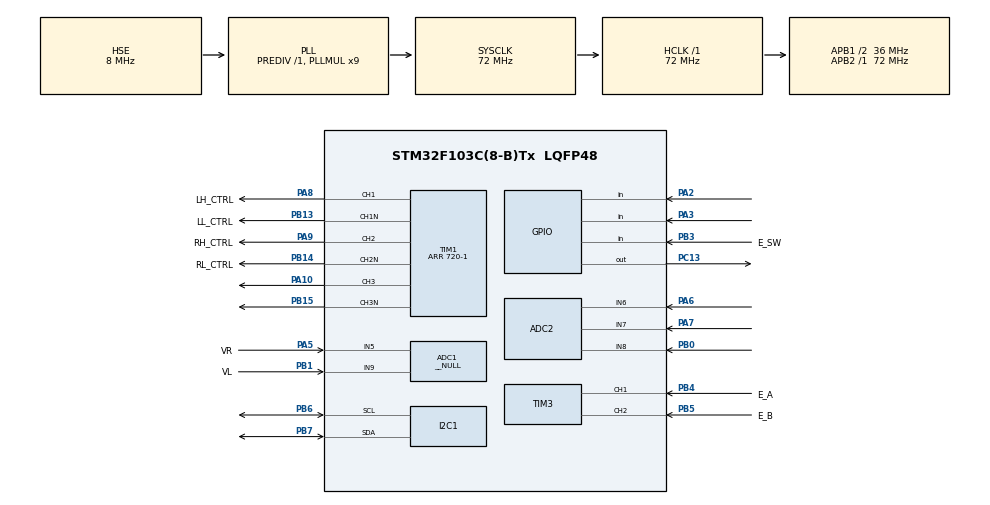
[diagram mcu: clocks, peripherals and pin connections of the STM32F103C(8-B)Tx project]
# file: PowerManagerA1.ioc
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ADC1.Channel-4\#ChannelRegularConversion=ADC_CHANNEL_9
ADC1.Channel-5\#ChannelRegularConversion=ADC_CHANNEL_5
ADC1.Channel-6\#ChannelRegularConversion=ADC_CHANNEL_VREFINT
ADC1.Channel-7\#ChannelRegularConversion=ADC_CHANNEL_8
ADC1.Channel-8\#ChannelRegularConversion=ADC_CHANNEL_6
ADC1.Channel-9\#ChannelRegularConversion=ADC_CHANNEL_7
ADC1.ContinuousConvMode=ENABLE
ADC1.ExternalTrigConv=ADC_EXTERNALTRIGCONV_T1_CC3
ADC1.Mode=__NULL
ADC1.NbrOfConversion=6
ADC1.NbrOfConversionFlag=1
ADC1.Rank-4\#ChannelRegularConversion=1
ADC1.Rank-5\#ChannelRegularConversion=2
ADC1.Rank-6\#ChannelRegularConversion=3
ADC1.Rank-7\#ChannelRegularConversion=4
ADC1.Rank-8\#ChannelRegularConversion=5
ADC1.Rank-9\#ChannelRegularConversion=6
ADC1.SamplingTime-4\#ChannelRegularConversion=ADC_SAMPLETIME_13CYCLES_5
ADC1.SamplingTime-5\#ChannelRegularConversion=ADC_SAMPLETIME_13CYCLES_5
ADC1.SamplingTime-6\#ChannelRegularConversion=ADC_SAMPLETIME_41CYCLES_5
ADC1.SamplingTime-7\#ChannelRegularConversion=ADC_SAMPLETIME_13CYCLES_5
ADC1.SamplingTime-8\#ChannelRegularConversion=ADC_SAMPLETIME_13CYCLES_5
ADC1.SamplingTime-9\#ChannelRegularConversion=ADC_SAMPLETIME_13CYCLES_5
ADC1.master=1
ADC2.Channel-4\#ChannelRegularConversion=ADC_CHANNEL_8
ADC2.Channel-5\#ChannelRegularConversion=ADC_CHANNEL_6
ADC2.Channel-6\#ChannelRegularConversion=ADC_CHANNEL_7
ADC2.NbrOfConversion=3
ADC2.NbrOfConversionFlag=1
ADC2.Rank-4\#ChannelRegularConversion=1
ADC2.Rank-5\#ChannelRegularConversion=2
ADC2.Rank-6\#ChannelRegularConversion=3
ADC2.SamplingTime-4\#ChannelRegularConversion=ADC_SAMPLETIME_13CYCLES_5
ADC2.SamplingTime-5\#ChannelRegularConversion=ADC_SAMPLETIME_13CYCLES_5
ADC2.SamplingTime-6\#ChannelRegularConversion=ADC_SAMPLETIME_41CYCLES_5
Dma.ADC1.0.Direction=DMA_PERIPH_TO_MEMORY
Dma.ADC1.0.Instance=DMA1_Channel1
Dma.ADC1.0.MemDataAlignment=DMA_MDATAALIGN_WORD
Dma.ADC1.0.MemInc=DMA_MINC_ENABLE
Dma.ADC1.0.Mode=DMA_CIRCULAR
Dma.ADC1.0.PeriphDataAlignment=DMA_PDATAALIGN_WORD
Dma.ADC1.0.PeriphInc=DMA_PINC_DISABLE
Dma.ADC1.0.Priority=DMA_PRIORITY_HIGH
Dma.Request0=ADC1
I2C1.I2C_Mode=I2C_Fast
Mcu.Family=STM32F1
Mcu.Name=STM32F103C(8-B)Tx
Mcu.Package=LQFP48
NVIC.DMA1_Channel1_IRQn=true\:2\:0\:true\:false\:true\:false\:true\:true
NVIC.PriorityGroup=NVIC_PRIORITYGROUP_4
NVIC.TIM4_IRQn=true\:3\:0\:true\:false\:true\:true\:true\:true
PA10.Signal=S_TIM1_CH3
PA13.Mode=Serial_Wire
PA13.Signal=SYS_JTMS-SWDIO
PA14.Mode=Serial_Wire
PA14.Signal=SYS_JTCK-SWCLK
PA2.GPIO_PuPd=GPIO_PULLUP
PA2.Signal=GPIO_Input
PA3.GPIO_PuPd=GPIO_PULLDOWN
PA3.Signal=GPIO_Input
PA5.GPIO_Label=VR
PA5.Signal=ADCx_IN5
PA6.Signal=ADCx_IN6
PA7.Signal=ADCx_IN7
PA8.GPIO_Label=LH_CTRL
PA8.Signal=S_TIM1_CH1
PA9.GPIO_Label=RH_CTRL
PA9.Signal=S_TIM1_CH2
PB0.Signal=ADCx_IN8
PB1.GPIO_Label=VL
PB1.Signal=ADCx_IN9
PB13.GPIO_Label=LL_CTRL
PB13.Mode=PWM Generation1 CH1 CH1N
PB13.Signal=TIM1_CH1N
PB14.GPIO_Label=RL_CTRL
PB14.Mode=PWM Generation2 CH2 CH2N
PB14.Signal=TIM1_CH2N
PB15.Mode=PWM Generation3 CH3 CH3N
PB15.Signal=TIM1_CH3N
PB3.GPIO_Label=E_SW
PB3.Signal=GPIO_Input
PB4.GPIO_Label=E_A
PB4.Signal=S_TIM3_CH1
PB5.GPIO_Label=E_B
PB5.Signal=S_TIM3_CH2
PB6.Mode=I2C
PB6.Signal=I2C1_SCL
PB7.Mode=I2C
PB7.Signal=I2C1_SDA
PC13-TAMPER-RTC.PinState=GPIO_PIN_SET
PC13-TAMPER-RTC.Signal=GPIO_Output
PD0-OSC_IN.Mode=HSE-External-Oscillator
PD0-OSC_IN.Signal=RCC_OSC_IN
PD1-OSC_OUT.Mode=HSE-External-Oscillator
PD1-OSC_OUT.Signal=RCC_OSC_OUT
ProjectManager.HeapSize=0x200
ProjectManager.StackSize=0x400
ProjectManager.TargetToolchain=MDK-ARM V5.32
RCC.ADCPresc=RCC_ADCPCLK2_DIV6
RCC.AHBFreq_Value=72000000
RCC.APB1CLKDivider=RCC_HCLK_DIV2
RCC.APB1Freq_Value=36000000
RCC.APB1TimFreq_Value=72000000
RCC.APB2Freq_Value=72000000
RCC.APB2TimFreq_Value=72000000
RCC.HCLKFreq_Value=72000000
RCC.PLLMUL=RCC_PLL_MUL9
RCC.PLLSourceVirtual=RCC_PLLSOURCE_HSE
RCC.SYSCLKFreq_VALUE=72000000
RCC.SYSCLKSource=RCC_SYSCLKSOURCE_PLLCLK
RCC.USBFreq_Value=72000000
SH.ADCx_IN5.0=ADC1_IN5,IN5
SH.ADCx_IN6.0=ADC2_IN6,IN6
SH.ADCx_IN6.1=ADC1_IN6,IN6
SH.ADCx_IN7.0=ADC2_IN7,IN7
SH.ADCx_IN7.1=ADC1_IN7,IN7
SH.ADCx_IN8.0=ADC2_IN8,IN8
SH.ADCx_IN8.1=ADC1_IN8,IN8
SH.ADCx_IN9.0=ADC1_IN9,IN9
SH.S_TIM1_CH1.0=TIM1_CH1,PWM Generation1 CH1 CH1N
SH.S_TIM1_CH2.0=TIM1_CH2,PWM Generation2 CH2 CH2N
SH.S_TIM1_CH3.0=TIM1_CH3,PWM Generation3 CH3 CH3N
SH.S_TIM3_CH1.0=TIM3_CH1,Encoder_Interface
SH.S_TIM3_CH2.0=TIM3_CH2,Encoder_Interface
TIM1.BreakState=TIM_BREAK_DISABLE
TIM1.Channel-PWM\ Generation1\ CH1\ CH1N=TIM_CHANNEL_1
TIM1.Channel-PWM\ Generation2\ CH2\ CH2N=TIM_CHANNEL_2
TIM1.Channel-PWM\ Generation3\ CH3\ CH3N=TIM_CHANNEL_3
TIM1.CounterMode=TIM_COUNTERMODE_CENTERALIGNED2
TIM1.DeadTime=25
TIM1.OCMode_PWM-PWM\ Generation2\ CH2\ CH2N=TIM_OCMODE_PWM2
TIM1.OCNPolarity_2=TIM_OCNPOLARITY_HIGH
TIM1.OCPolarity_2=TIM_OCPOLARITY_HIGH
TIM1.Period=720-1
TIM1.TIM_MasterOutputTrigger=TIM_TRGO_UPDATE
TIM1.TIM_MasterSlaveMode=TIM_MASTERSLAVEMODE_ENABLE
TIM3.EncoderMode=TIM_ENCODERMODE_TI12
TIM4.AutoReloadPreload=TIM_AUTORELOAD_PRELOAD_ENABLE
TIM4.Period=100-1
TIM4.Prescaler=7200-1
VP_ADC1_Vref_Input.Mode=IN-Vrefint
VP_TIM1_VS_ClockSourceINT.Mode=Internal
VP_TIM4_VS_ClockSourceINT.Mode=Internal
board=custom

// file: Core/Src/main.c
/* USER CODE BEGIN Header */
/**
  ******************************************************************************
  * @file           : main.c
  * @brief          : Main program body
  ******************************************************************************
  * @attention
  *
  * Copyright (c) 2025 STMicroelectronics.
  * All rights reserved.
  *
  * This software is licensed under terms that can be found in the LICENSE file
  * in the root directory of this software component.
  * If no LICENSE file comes with this software, it is provided AS-IS.
  *
  ******************************************************************************
  */
/* USER CODE END Header */
#include "main.h"
#include "adc.h"
#include "dma.h"
#include "i2c.h"
#include "tim.h"
#include "gpio.h"

/* USER CODE BEGIN Includes */

#include "pwm_ctrl.h" // 包含控制逻辑
#include "ui.h"  // 包含 UI 逻辑
#include "KeyFilter.h"
#include "sample.h"

/* USER CODE END Includes */

/* USER CODE BEGIN PV */

static float target_v = 12.0f;
static float target_i = 1.0f;
static bool setVoltage = false;

/* USER CODE END PV */

void SystemClock_Config(void);

int main(void)
{

  /* MCU Configuration--------------------------------------------------------*/

  /* Reset of all peripherals, Initializes the Flash interface and the Systick. */
  HAL_Init();

  /* Configure the system clock */
  SystemClock_Config();

  /* Initialize all configured peripherals */
  MX_GPIO_Init();
  MX_DMA_Init();
  MX_ADC1_Init();
  MX_I2C1_Init();
  MX_TIM1_Init();
  MX_TIM3_Init();
  MX_ADC2_Init();
  MX_TIM4_Init();
  /* USER CODE BEGIN 2 */

	/* 1. 初始化控制系统*/
    PWM_Ctrl_Init_And_Detect();

    /* 2. 设定电源目标: 目标 12.0V, 限流 1.0A */
    PWM_Ctrl_Set_Targets(target_v, target_i);

    /* 3. 初始化 UI 界面 */
    UI_Init();
	KeyFilter_Init();

    /* 4. 启动 DCDC 转换 */
    PWM_Ctrl_Start();

    /* UI 刷新计时器 */
    uint32_t last_ui_tick = 0;

//	PWM_Set_Right_Duty_Percent(40);
//	PWM_Set_Left_Duty_Percent(40);

  /* USER CODE END 2 */

  /* Infinite loop */
  /* USER CODE BEGIN WHILE */
  while (1)
  {

		/* * 任务 1: UI 刷新 (低优先级, 200ms 一次)
         * 避免频繁刷新占用 CPU 和总线资源
         */
        if (HAL_GetTick() - last_ui_tick > 200)
        {
            last_ui_tick = HAL_GetTick();

            // 刷新界面数值
            UI_Update_Values();
        }

        /* * 任务 2: 按键扫描或其他逻辑 (示例)
         * 如果检测到严重故障，可以切换显示停止页面
         */
        const PWM_CTRL_Status_TypeDef* status = PWM_Ctrl_Get_Status();
        if (status->RunState == PWM_CTRL_STATE_ERROR)
        {
             // 如果需要特殊的错误大字页面
             // UI_Show_Stop_Page();
        }

    /* USER CODE END WHILE */

  }
}

void SystemClock_Config(void)
{
  RCC_OscInitTypeDef RCC_OscInitStruct = {0};
  RCC_ClkInitTypeDef RCC_ClkInitStruct = {0};
  RCC_PeriphCLKInitTypeDef PeriphClkInit = {0};

  /** Initializes the RCC Oscillators according to the specified parameters
  * in the RCC_OscInitTypeDef structure.
  */
  RCC_OscInitStruct.OscillatorType = RCC_OSCILLATORTYPE_HSE;
  RCC_OscInitStruct.HSEState = RCC_HSE_ON;
  RCC_OscInitStruct.HSEPredivValue = RCC_HSE_PREDIV_DIV1;
  RCC_OscInitStruct.HSIState = RCC_HSI_ON;
  RCC_OscInitStruct.PLL.PLLState = RCC_PLL_ON;
  RCC_OscInitStruct.PLL.PLLSource = RCC_PLLSOURCE_HSE;
  RCC_OscInitStruct.PLL.PLLMUL = RCC_PLL_MUL9;
  if (HAL_RCC_OscConfig(&RCC_OscInitStruct) != HAL_OK)
  {
    Error_Handler();
  }

  /** Initializes the CPU, AHB and APB buses clocks
  */
  RCC_ClkInitStruct.ClockType = RCC_CLOCKTYPE_HCLK|RCC_CLOCKTYPE_SYSCLK
                              |RCC_CLOCKTYPE_PCLK1|RCC_CLOCKTYPE_PCLK2;
  RCC_ClkInitStruct.SYSCLKSource = RCC_SYSCLKSOURCE_PLLCLK;
  RCC_ClkInitStruct.AHBCLKDivider = RCC_SYSCLK_DIV1;
  RCC_ClkInitStruct.APB1CLKDivider = RCC_HCLK_DIV2;
  RCC_ClkInitStruct.APB2CLKDivider = RCC_HCLK_DIV1;

  if (HAL_RCC_ClockConfig(&RCC_ClkInitStruct, FLASH_LATENCY_2) != HAL_OK)
  {
    Error_Handler();
  }
  PeriphClkInit.PeriphClockSelection = RCC_PERIPHCLK_ADC;
  PeriphClkInit.AdcClockSelection = RCC_ADCPCLK2_DIV6;
  if (HAL_RCCEx_PeriphCLKConfig(&PeriphClkInit) != HAL_OK)
  {
    Error_Handler();
  }
}

/* USER CODE BEGIN 4 */

void Key1_Pressed_Handler(void){
	target_i -= 0.1f;
	PWM_Ctrl_Set_Targets(target_v, target_i);
}
void Key2_Pressed_Handler(void){
	target_i += 0.1f;
	PWM_Ctrl_Set_Targets(target_v, target_i);
}
void KeySW_Pressed_Handler(void){
	setVoltage = !setVoltage;
}
void Encoder_SetValue(int16_t value){
	if(setVoltage == true){
		float newtarget_v = target_v + (float)value * 0.1f;
		if (newtarget_v < 3.0f) {
			target_v = 3.0f; // 最小电压限制
		} else if (newtarget_v > 12.0f) {
			target_v = 12.0f; // 最大电压限制
		} else {
			target_v = newtarget_v; // 每个编码器单位对应 0.1V
		}
	} else {
		float newtarget_i = target_i + (float)value * 0.1f;
		if (newtarget_i > 1.0f) {
			target_i = 1.0f;
		} else if (newtarget_i < 0.5f) {
			target_i = 0.5f;
		} else {
			target_i = newtarget_i;
		}
	}

  PWM_Ctrl_Set_Targets(target_v, target_i);
}

//int32_t Sample_Correct_VR(int32_t theory_val){
//	return theory_val - 130000;
//}
//int32_t Sample_Correct_IR(int32_t theory_val){
//	return theory_val - 34000;
//}
//int32_t Sample_Correct_VL(int32_t theory_val){
//	return theory_val + 150000;
//}

//void HAL_ADC_ConvCpltCallback(ADC_HandleTypeDef* hadc)
//{
//    static uint8_t fast_counter = 0;
//
//    if (hadc->Instance == ADC1)
//    {
//        fast_counter++;
//
//        /* 1. 计数达到 10 次 */
//        if (fast_counter >= 20)
//        {
//            fast_counter = 0;
//
//            // 【核心代码】手动挂起 PendSV 中断
//            // 这行代码告诉 CPU："稍后有空时，请执行 PendSV_Handler"
//            SCB->ICSR |= SCB_ICSR_PENDSVSET_Msk;
//        }
//    }
//}

/* USER CODE END 4 */

void Error_Handler(void)
{
  __disable_irq();
  while (1)
  {
  }
}
